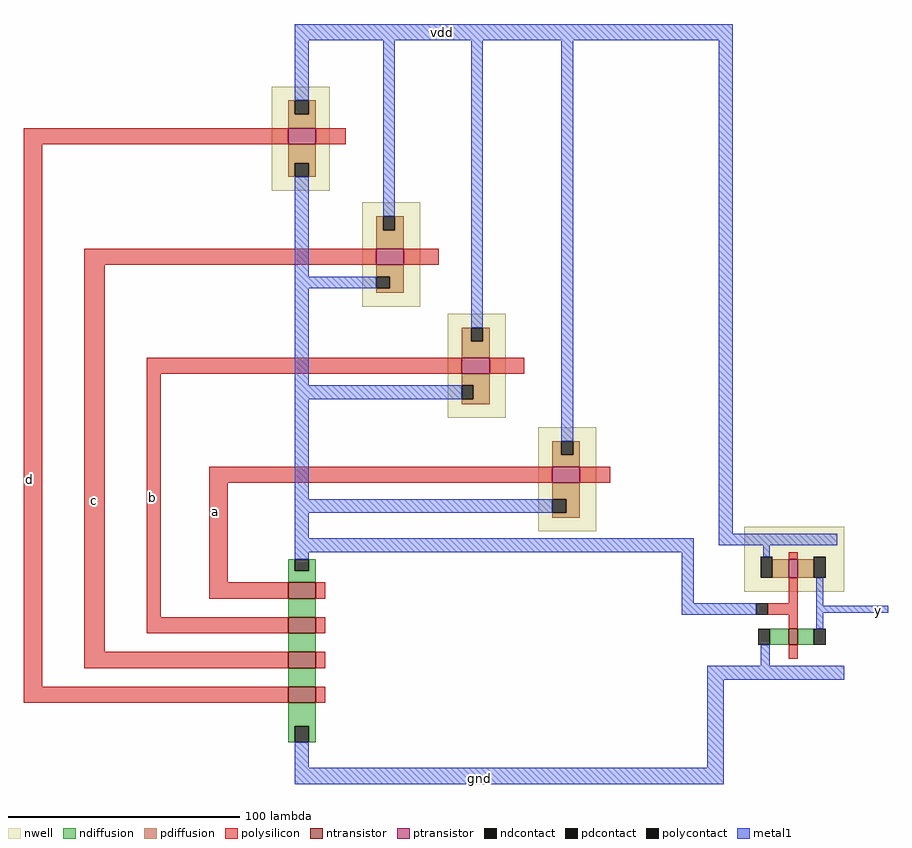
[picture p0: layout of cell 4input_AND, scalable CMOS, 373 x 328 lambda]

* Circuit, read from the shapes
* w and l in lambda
.subckt 4input_AND a b c d gnd vdd y
M1 n1 d gnd VSUBS nfet w=12 l=7
M2 n2 c n1 VSUBS nfet w=12 l=7
M3 n3 b n2 VSUBS nfet w=12 l=7
M4 not_0/in a n3 VSUBS nfet w=12 l=7
M5 y not_0/in gnd VSUBS nfet w=7 l=4
M6 vdd d not_0/in n4 pfet w=12 l=7
M7 vdd c not_0/in n5 pfet w=12 l=7
M8 vdd b not_0/in n6 pfet w=12 l=7
M9 vdd a not_0/in n7 pfet w=12 l=7
M10 y not_0/in vdd n8 pfet w=8 l=4
.ends

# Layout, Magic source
magic
tech scmos
<< nwell >>
rect -47 52 -22 97
rect -8 2 17 47
rect 29 -46 54 -1
rect 68 -95 93 -50
<< ntransistor >>
rect -40 -124 -28 -117
rect -40 -139 -28 -132
rect -40 -154 -28 -147
rect -40 -169 -28 -162
<< ptransistor >>
rect -40 72 -28 79
rect -2 20 10 27
rect 35 -27 47 -20
rect 74 -74 86 -67
<< ndiffusion >>
rect -40 -112 -37 -107
rect -31 -112 -28 -107
rect -40 -117 -28 -112
rect -40 -132 -28 -124
rect -40 -147 -28 -139
rect -40 -162 -28 -154
rect -40 -179 -28 -169
rect -40 -186 -37 -179
rect -31 -186 -28 -179
<< pdiffusion >>
rect -40 85 -37 91
rect -31 85 -28 91
rect -40 79 -28 85
rect -40 64 -28 72
rect -40 58 -37 64
rect -31 58 -28 64
rect -2 35 1 41
rect 6 35 10 41
rect -2 27 10 35
rect -2 15 10 20
rect 4 10 10 15
rect -2 8 10 10
rect 35 -13 39 -7
rect 44 -13 47 -7
rect 35 -20 47 -13
rect 35 -32 47 -27
rect 40 -38 47 -32
rect 35 -40 47 -38
rect 74 -62 78 -56
rect 83 -62 86 -56
rect 74 -67 86 -62
rect 74 -81 86 -74
rect 80 -87 86 -81
rect 74 -89 86 -87
<< ndcontact >>
rect -37 -112 -31 -107
rect -37 -186 -31 -179
<< pdcontact >>
rect -37 85 -31 91
rect -37 58 -31 64
rect 1 35 6 41
rect -2 10 4 15
rect 39 -13 44 -7
rect 35 -38 40 -32
rect 78 -62 83 -56
rect 74 -87 80 -81
<< polysilicon >>
rect -154 72 -40 79
rect -28 72 -15 79
rect -154 -162 -146 72
rect -128 20 -2 27
rect 10 20 25 27
rect -128 -147 -119 20
rect -101 -27 35 -20
rect 47 -27 62 -20
rect -101 -132 -95 -27
rect -74 -74 74 -67
rect 86 -74 99 -67
rect -74 -117 -66 -74
rect -74 -124 -40 -117
rect -28 -124 -24 -117
rect -101 -139 -40 -132
rect -28 -139 -24 -132
rect -128 -154 -40 -147
rect -28 -154 -24 -147
rect -154 -169 -40 -162
rect -28 -169 -24 -162
<< metal1 >>
rect -37 117 152 124
rect -37 91 -31 117
rect -37 15 -31 58
rect 1 41 6 117
rect -37 10 -2 15
rect -37 -32 -31 10
rect 39 -7 44 117
rect -37 -38 35 -32
rect -37 -81 -31 -38
rect 78 -56 83 117
rect -37 -87 74 -81
rect -37 -98 -31 -87
rect 146 -96 152 117
rect -37 -104 135 -98
rect 146 -101 162 -96
rect -37 -107 -31 -104
rect 130 -126 135 -104
rect 130 -131 152 -126
rect 196 -130 219 -127
rect 141 -159 157 -153
rect -37 -197 -31 -186
rect 141 -197 148 -159
rect -37 -204 148 -197
use not  not_0
transform 1 0 159 0 1 -131
box -7 -28 41 38
<< labels >>
rlabel polysilicon -72 -87 -71 -86 1 a
rlabel polysilicon -99 -81 -98 -80 1 b
rlabel polysilicon -124 -82 -123 -81 1 c
rlabel polysilicon -152 -73 -151 -72 3 d
rlabel metal1 26 120 27 121 5 vdd
rlabel metal1 42 -202 43 -201 1 gnd
rlabel metal1 215 -129 215 -129 7 y
<< end >>

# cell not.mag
magic
tech scmos
<< nwell >>
rect -2 10 41 38
<< ntransistor >>
rect 17 -13 21 -6
<< ptransistor >>
rect 17 16 21 24
<< ndiffusion >>
rect 9 -13 17 -6
rect 21 -13 28 -6
<< pdiffusion >>
rect 10 16 17 24
rect 21 16 28 24
<< ndcontact >>
rect 4 -13 9 -6
rect 28 -13 33 -6
<< pdcontact >>
rect 5 16 10 25
rect 28 16 33 25
<< polysilicon >>
rect 17 24 21 27
rect 17 5 21 16
rect 8 0 21 5
rect 17 -6 21 0
rect 17 -19 21 -13
<< polycontact >>
rect 3 0 8 5
<< metal1 >>
rect 0 30 38 35
rect 6 25 9 30
rect -7 0 3 5
rect 29 4 32 16
rect 29 1 37 4
rect 29 -6 32 1
rect 5 -22 9 -13
rect -2 -28 41 -22
<< labels >>
rlabel metal1 16 31 21 33 1 vdd
rlabel metal1 29 1 37 4 1 out
rlabel metal1 -6 1 2 4 3 in
rlabel metal1 17 -27 25 -24 1 gnd
<< end >>
